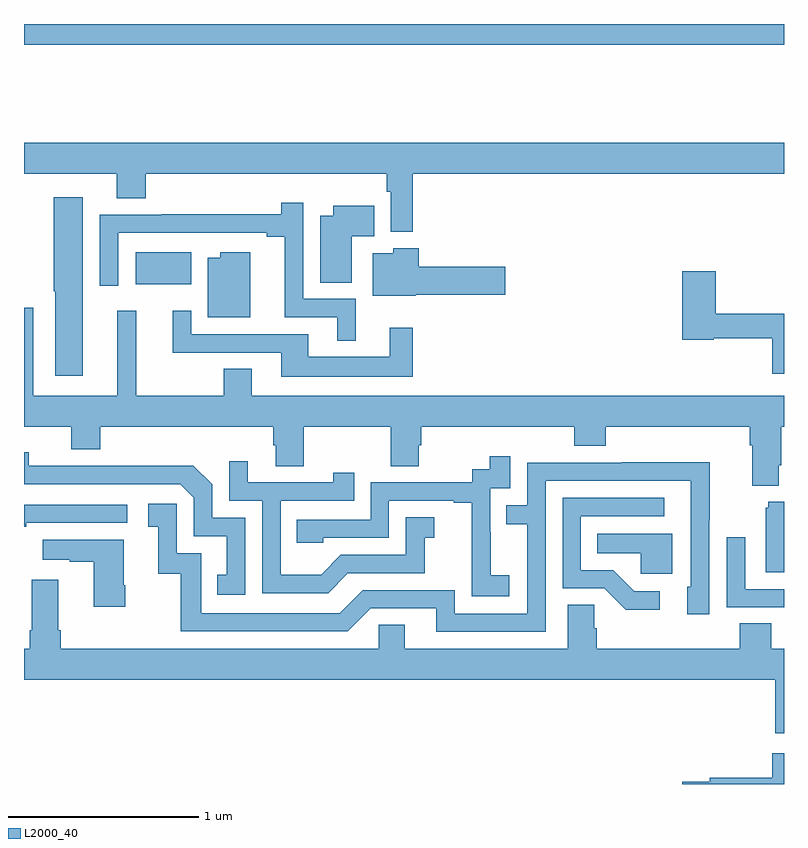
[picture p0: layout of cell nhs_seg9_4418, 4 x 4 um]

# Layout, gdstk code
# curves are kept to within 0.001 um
import gdstk
lib = gdstk.Library(unit=1e-6, precision=1e-09)
def R(c, l, rs):  # rectangles x0, y0, x1, y1
    for r in rs: c.add(gdstk.rectangle(r[:2], r[2:], *l))
def P(c, l, *ps):  # polygons
    for p in ps: c.add(gdstk.Polygon(p, *l))
L2000_40 = (2000, 40)

nhs_seg9_4418 = lib.new_cell('nhs_seg9_4418')
R(nhs_seg9_4418, L2000_40, [(363.587,1237.13,363.88,1237.3), (363,1238.392,367,1238.5)])
P(nhs_seg9_4418, L2000_40, [(365.045,1237.712),(367,1237.712),(367,1237.876),(363,1237.876),(363,1237.712),(363.488,1237.712),(363.488,1237.582),(363.641,1237.582),(363.641,1237.712),(364.909,1237.712),(364.909,1237.616),(364.929,1237.616),(364.929,1237.406),(365.045,1237.406)],
  [(363.31,1237.588),(363.157,1237.588),(363.157,1237.093),(363.164,1237.093),(363.164,1236.648),(363.31,1236.648)],
  [(364.747,1237.053),(364.47,1237.053),(364.47,1237.558),(364.354,1237.558),(364.354,1237.499),(363.724,1237.499),(363.724,1237.497),(363.399,1237.497),(363.399,1237.122),(363.495,1237.122),(363.495,1237.401),(364.277,1237.401),(364.277,1237.381),(364.373,1237.381),(364.373,1236.957),(364.649,1236.957),(364.649,1236.833),(364.747,1236.833)],
  [(364.726,1237.382),(364.844,1237.382),(364.844,1237.543),(364.628,1237.543),(364.628,1237.492),(364.559,1237.492),(364.559,1237.138),(364.726,1237.138)],
  [(365.061,1237.076),(365.533,1237.076),(365.533,1237.223),(365.078,1237.223),(365.078,1237.321),(364.944,1237.321),(364.944,1237.294),(364.835,1237.294),(364.835,1237.07),(365.061,1237.07)],
  [(364.192,1237.3),(364.034,1237.3),(364.034,1237.27),(363.968,1237.27),(363.968,1236.956),(364.192,1236.956)],
  [(367,1236.974),(366.642,1236.974),(366.642,1237.198),(366.464,1237.198),(366.464,1236.838),(366.63,1236.838),(366.63,1236.846),(366.938,1236.846),(366.938,1236.659),(367,1236.659)],
  [(366.973,1236.178),(366.986,1236.178),(366.986,1236.38),(367,1236.38),(367,1236.544),(364.198,1236.544),(364.198,1236.686),(364.051,1236.686),(364.051,1236.544),(363.59,1236.544),(363.59,1236.991),(363.491,1236.991),(363.491,1236.544),(363.049,1236.544),(363.049,1237.006),(363,1237.006),(363,1236.38),(363.248,1236.38),(363.248,1236.263),(363.401,1236.263),(363.401,1236.38),(364.313,1236.38),(364.313,1236.282),(364.325,1236.282),(364.325,1236.172),(364.473,1236.172),(364.473,1236.38),(364.93,1236.38),(364.93,1236.172),(365.077,1236.172),(365.077,1236.282),(365.09,1236.282),(365.09,1236.38),(365.897,1236.38),(365.897,1236.281),(366.062,1236.281),(366.062,1236.38),(366.821,1236.38),(366.821,1236.284),(366.833,1236.284),(366.833,1236.071),(366.973,1236.071)],
  [(365.047,1236.901),(364.925,1236.901),(364.925,1236.748),(364.495,1236.748),(364.495,1236.867),(363.879,1236.867),(363.879,1236.991),(363.782,1236.991),(363.782,1236.771),(364.355,1236.771),(364.355,1236.644),(365.047,1236.644)],
  [(364.164,1235.901),(363.99,1235.901),(363.99,1236.078),(363.892,1236.176),(363.484,1236.176),(363.484,1236.174),(363.024,1236.174),(363.024,1236.247),(363,1236.247),(363,1236.078),(363.822,1236.078),(363.894,1236.006),(363.894,1235.805),(364.067,1235.805),(364.067,1235.601),(364.018,1235.601),(364.018,1235.496),(364.164,1235.496)],
  [(365.554,1235.599),(365.456,1235.599),(365.456,1235.828),(365.454,1235.828),(365.454,1236.057),(365.559,1236.057),(365.559,1236.226),(365.451,1236.226),(365.451,1236.156),(365.358,1236.156),(365.358,1236.087),(364.824,1236.087),(364.824,1235.892),(364.435,1235.892),(364.435,1235.769),(364.575,1235.769),(364.575,1235.796),(364.92,1235.796),(364.92,1235.991),(365.261,1235.991),(365.261,1235.979),(365.357,1235.979),(365.357,1235.695),(365.356,1235.695),(365.356,1235.489),(365.554,1235.489)],
  [(364.705,1235.61),(365.109,1235.61),(365.109,1235.795),(365.158,1235.795),(365.158,1235.905),(365.01,1235.905),(365.01,1235.706),(364.668,1235.706),(364.564,1235.602),(364.35,1235.602),(364.35,1235.991),(364.739,1235.991),(364.739,1236.139),(364.628,1236.139),(364.628,1236.087),(364.177,1236.087),(364.177,1236.199),(364.08,1236.199),(364.08,1235.991),(364.254,1235.991),(364.254,1235.505),(364.6,1235.505)],
  [(365.745,1236.096),(366.509,1236.096),(366.51,1235.538),(366.491,1235.538),(366.491,1235.394),(366.606,1235.394),(366.606,1235.887),(366.609,1235.887),(366.609,1236.194),(366.145,1236.194),(366.145,1236.192),(365.649,1236.192),(365.649,1235.967),(365.539,1235.967),(365.539,1235.866),(365.649,1235.866),(365.649,1235.397),(365.268,1235.397),(365.268,1235.52),(364.782,1235.52),(364.662,1235.4),(363.933,1235.4),(363.933,1235.715),(363.804,1235.715),(363.804,1235.974),(363.654,1235.974),(363.654,1235.853),(363.707,1235.853),(363.707,1235.607),(363.825,1235.607),(363.825,1235.304),(364.704,1235.304),(364.824,1235.424),(365.171,1235.424),(365.171,1235.301),(365.745,1235.301)],
  [(366.346,1235.514),(366.211,1235.514),(366.1,1235.625),(365.931,1235.625),(365.931,1235.91),(366.37,1235.91),(366.37,1236.006),(365.835,1236.006),(365.835,1235.529),(366.054,1235.529),(366.167,1235.417),(366.346,1235.417)],
  [(367,1235.986),(366.917,1235.986),(366.917,1235.955),(366.905,1235.955),(366.905,1235.615),(367,1235.615)],
  [(363.011,1235.874),(363.544,1235.874),(363.544,1235.97),(363,1235.97),(363,1235.854),(363.011,1235.854)],
  [(366.412,1235.818),(366.016,1235.818),(366.016,1235.714),(366.247,1235.714),(366.247,1235.606),(366.412,1235.606)],
  [(367,1235.526),(366.795,1235.526),(366.795,1235.8),(366.699,1235.8),(366.699,1235.43),(367,1235.43)],
  [(363.534,1235.545),(363.526,1235.545),(363.526,1235.785),(363.099,1235.785),(363.099,1235.681),(363.242,1235.681),(363.242,1235.671),(363.368,1235.671),(363.368,1235.433),(363.534,1235.433)],
  [(367,1235.212),(366.932,1235.212),(366.932,1235.345),(366.767,1235.345),(366.767,1235.212),(366.014,1235.212),(366.014,1235.321),(366,1235.321),(366,1235.444),(365.861,1235.444),(365.861,1235.212),(365.005,1235.212),(365.005,1235.339),(364.866,1235.339),(364.866,1235.212),(363.194,1235.212),(363.194,1235.308),(363.181,1235.308),(363.181,1235.575),(363.041,1235.575),(363.041,1235.308),(363.029,1235.308),(363.029,1235.212),(363,1235.212),(363,1235.048),(366.954,1235.048),(366.954,1234.767),(367,1234.767)],
  [(367,1234.663),(366.938,1234.663),(366.938,1234.532),(366.61,1234.532),(366.61,1234.512),(366.464,1234.512),(366.464,1234.5),(367,1234.5)])

lib.write_gds('nhs_seg9_4418.gds')
